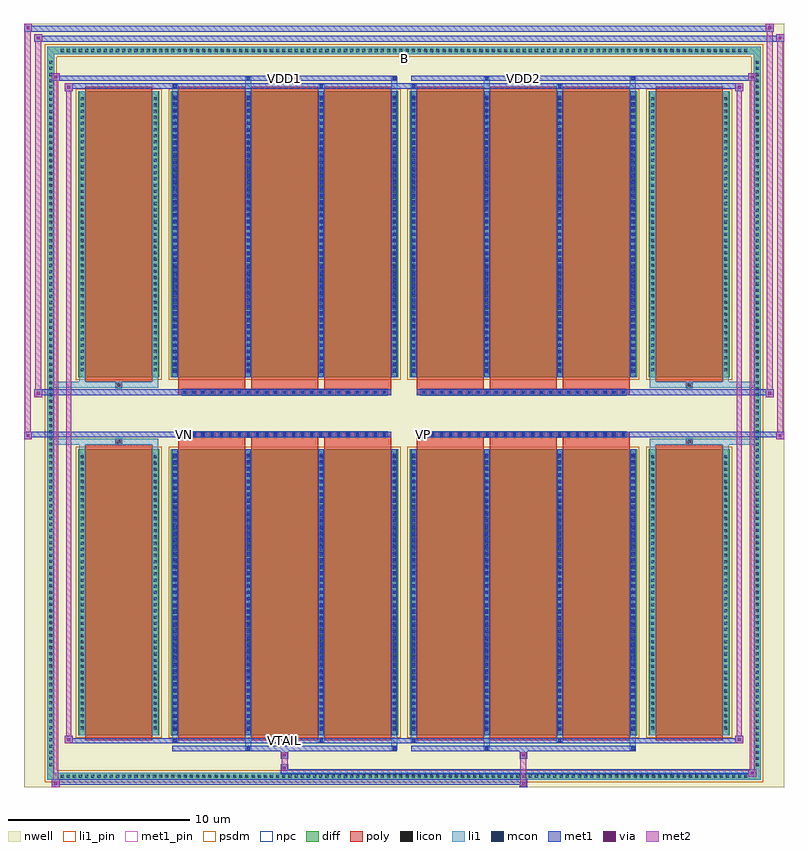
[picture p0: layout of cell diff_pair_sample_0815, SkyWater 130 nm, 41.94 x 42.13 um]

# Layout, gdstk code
import gdstk
lib = gdstk.Library(unit=1e-6, precision=5e-09)
def R(c, l, rs):  # rectangles x0, y0, x1, y1
    for r in rs: c.add(gdstk.rectangle(r[:2], r[2:], *l))
def A(c, l, x, y, w, h, nx, ny, dx, dy):  # array of equal rectangles
    R(c, l, [(x+i*dx, y+j*dy, x+i*dx+w, y+j*dy+h) for i in range(nx) for j in range(ny)])
def P(c, l, *ps):  # polygons
    for p in ps: c.add(gdstk.Polygon(p, *l))
nwell = (64, 20)
diff = (65, 20)
poly = (66, 20)
licon = (66, 44)
li1_pin = (67, 16)
li1 = (67, 20)
mcon = (67, 44)
met1_pin = (68, 16)
met1 = (68, 20)
via = (68, 44)
met2 = (69, 20)
psdm = (94, 20)
npc = (95, 20)

diff_pair_sample_0815 = lib.new_cell('diff_pair_sample_0815')
R(diff_pair_sample_0815, nwell, [(-20.97,-20.63,20.97,21.5), (-18.29,-18.82,-0.01,-0.8), (0.01,-18.82,18.29,-0.8), (-18.29,0.8,-0.01,18.82), (0.01,0.8,18.29,18.82)])
A(diff_pair_sample_0815, diff, -19.075, -20.23, 0.41, 0.41, 112, 2, 0.34, 40.05)
A(diff_pair_sample_0815, diff, -19.7, -19.585, 0.41, 0.41, 1, 115, 0, 0.34)
A(diff_pair_sample_0815, diff, 19.29, -19.585, 0.41, 0.41, 1, 115, 0, 0.34)
R(diff_pair_sample_0815, diff, [(-19.075,-20.23,19.075,-19.82), (-19.7,-19.585,-19.29,19.585), (19.29,-19.585,19.7,19.585), (-17.98,-17.775,-13.5,-1.985), (-12.86,-17.775,-0.32,-1.985), (0.32,-17.775,12.86,-1.985), (13.5,-17.775,17.98,-1.985), (-17.98,1.985,-13.5,17.775), (-12.86,1.985,-0.32,17.775), (0.32,1.985,12.86,17.775), (13.5,1.985,17.98,17.775), (-19.075,19.82,19.075,20.23)])
P(diff_pair_sample_0815, diff, [(19.7,20.23),(-19.7,20.23),(-19.7,-19.82),(-19.29,-19.82),(-19.29,19.82),(19.29,19.82),(19.29,-19.82),(-19.29,-19.82),(-19.7,-19.82),(-19.7,-20.23),(19.7,-20.23)])
A(diff_pair_sample_0815, poly, -12.47, -18.025, 3.7, 16.29, 3, 2, 4.03, 19.76)
A(diff_pair_sample_0815, poly, 0.71, -18.025, 3.7, 16.29, 3, 2, 4.03, 19.76)
A(diff_pair_sample_0815, poly, -12.47, -1.735, 3.7, 0.405, 3, 2, 4.03, 3.065)
A(diff_pair_sample_0815, poly, 0.71, -1.735, 3.7, 0.405, 3, 2, 4.03, 3.065)
A(diff_pair_sample_0815, poly, -12.255, -1.33, 0.33, 0.33, 23, 2, 0.5, 2.33)
A(diff_pair_sample_0815, poly, 0.925, -1.33, 0.33, 0.33, 23, 2, 0.5, 2.33)
R(diff_pair_sample_0815, poly, [(-17.59,-18.025,-13.89,-1.735), (13.89,-18.025,17.59,-1.735), (-15.905,-1.735,-15.575,-1.405), (-15.905,-1.735,-15.575,-1.405), (15.575,-1.735,15.905,-1.405), (15.575,-1.735,15.905,-1.405), (-12.47,-1.33,-0.71,-1), (0.71,-1.33,12.47,-1), (-12.47,1,-0.71,1.33), (0.71,1,12.47,1.33), (-15.905,1.405,-15.575,1.735), (-15.905,1.405,-15.575,1.735), (15.575,1.405,15.905,1.735), (15.575,1.405,15.905,1.735), (-17.59,1.735,-13.89,18.025), (13.89,1.735,17.59,18.025)])
A(diff_pair_sample_0815, licon, -18.955, -20.11, 0.17, 0.17, 112, 2, 0.34, 40.05)
A(diff_pair_sample_0815, licon, -19.58, -19.465, 0.17, 0.17, 1, 115, 0, 0.34)
A(diff_pair_sample_0815, licon, 19.41, -19.465, 0.17, 0.17, 1, 115, 0, 0.34)
A(diff_pair_sample_0815, licon, -17.84, -17.445, 0.17, 0.17, 1, 45, 0, 0.34)
A(diff_pair_sample_0815, licon, -13.81, -17.445, 0.17, 0.17, 1, 45, 0, 0.34)
A(diff_pair_sample_0815, licon, -12.72, -17.445, 0.17, 0.17, 4, 45, 4.03, 0.34)
A(diff_pair_sample_0815, licon, 0.46, -17.445, 0.17, 0.17, 4, 45, 4.03, 0.34)
A(diff_pair_sample_0815, licon, 13.64, -17.445, 0.17, 0.17, 1, 45, 0, 0.34)
A(diff_pair_sample_0815, licon, 17.67, -17.445, 0.17, 0.17, 1, 45, 0, 0.34)
A(diff_pair_sample_0815, licon, -12.175, -1.25, 0.17, 0.17, 23, 2, 0.5, 2.33)
A(diff_pair_sample_0815, licon, 1.005, -1.25, 0.17, 0.17, 23, 2, 0.5, 2.33)
A(diff_pair_sample_0815, licon, -17.84, 2.315, 0.17, 0.17, 1, 45, 0, 0.34)
A(diff_pair_sample_0815, licon, -13.81, 2.315, 0.17, 0.17, 1, 45, 0, 0.34)
A(diff_pair_sample_0815, licon, -12.72, 2.315, 0.17, 0.17, 4, 45, 4.03, 0.34)
A(diff_pair_sample_0815, licon, 0.46, 2.315, 0.17, 0.17, 4, 45, 4.03, 0.34)
A(diff_pair_sample_0815, licon, 13.64, 2.315, 0.17, 0.17, 1, 45, 0, 0.34)
A(diff_pair_sample_0815, licon, 17.67, 2.315, 0.17, 0.17, 1, 45, 0, 0.34)
R(diff_pair_sample_0815, licon, [(-15.825,-1.655,-15.655,-1.485), (15.655,-1.655,15.825,-1.485), (-15.825,1.485,-15.655,1.655), (15.655,1.485,15.825,1.655)])
R(diff_pair_sample_0815, li1_pin, [(-0.25,19.32,0.25,19.82)])
A(diff_pair_sample_0815, li1, -19.035, -20.19, 0.33, 0.33, 112, 2, 0.34, 40.05)
A(diff_pair_sample_0815, li1, -19.66, -19.545, 0.33, 0.33, 1, 115, 0, 0.34)
A(diff_pair_sample_0815, li1, 19.33, -19.545, 0.33, 0.33, 1, 115, 0, 0.34)
A(diff_pair_sample_0815, li1, -12.8, -17.775, 0.33, 15.79, 4, 2, 4.03, 19.76)
A(diff_pair_sample_0815, li1, 0.38, -17.775, 0.33, 15.79, 4, 2, 4.03, 19.76)
A(diff_pair_sample_0815, li1, -17.92, -17.525, 0.33, 0.33, 1, 45, 0, 0.34)
A(diff_pair_sample_0815, li1, -13.89, -17.525, 0.33, 0.33, 1, 45, 0, 0.34)
A(diff_pair_sample_0815, li1, -12.8, -17.525, 0.33, 0.33, 4, 45, 4.03, 0.34)
A(diff_pair_sample_0815, li1, -12.72, -17.525, 0.17, 0.17, 4, 43, 4.03, 0.36)
A(diff_pair_sample_0815, li1, -12.72, -17.525, 0.17, 15.29, 4, 2, 4.03, 19.76)
A(diff_pair_sample_0815, li1, 0.38, -17.525, 0.33, 0.33, 4, 45, 4.03, 0.34)
A(diff_pair_sample_0815, li1, 0.46, -17.525, 0.17, 0.17, 4, 43, 4.03, 0.36)
A(diff_pair_sample_0815, li1, 0.46, -17.525, 0.17, 15.29, 4, 2, 4.03, 19.76)
A(diff_pair_sample_0815, li1, 13.56, -17.525, 0.33, 0.33, 1, 45, 0, 0.34)
A(diff_pair_sample_0815, li1, 17.59, -17.525, 0.33, 0.33, 1, 45, 0, 0.34)
A(diff_pair_sample_0815, li1, -12.255, -1.33, 0.33, 0.33, 23, 2, 0.5, 2.33)
A(diff_pair_sample_0815, li1, 0.925, -1.33, 0.33, 0.33, 23, 2, 0.5, 2.33)
A(diff_pair_sample_0815, li1, -17.92, 2.235, 0.33, 0.33, 1, 45, 0, 0.34)
A(diff_pair_sample_0815, li1, -13.89, 2.235, 0.33, 0.33, 1, 45, 0, 0.34)
A(diff_pair_sample_0815, li1, -12.8, 2.235, 0.33, 0.33, 4, 45, 4.03, 0.34)
A(diff_pair_sample_0815, li1, -12.72, 2.235, 0.17, 0.17, 4, 43, 4.03, 0.36)
A(diff_pair_sample_0815, li1, 0.38, 2.235, 0.33, 0.33, 4, 45, 4.03, 0.34)
A(diff_pair_sample_0815, li1, 0.46, 2.235, 0.17, 0.17, 4, 43, 4.03, 0.36)
A(diff_pair_sample_0815, li1, 13.56, 2.235, 0.33, 0.33, 1, 45, 0, 0.34)
A(diff_pair_sample_0815, li1, 17.59, 2.235, 0.33, 0.33, 1, 45, 0, 0.34)
R(diff_pair_sample_0815, li1, [(-19.7,-20.23,-19.29,-19.82), (-19.7,-20.23,-19.29,-19.82), (-19.29,-20.23,19.29,-19.82), (19.29,-20.23,19.7,-19.82), (19.29,-20.23,19.7,-19.82), (-19.7,-19.82,-19.29,19.82), (19.29,-19.82,19.7,19.82), (-8.77,-18.58,-8.44,-17.775), (-8.69,-18.58,-8.52,-18.41), (-0.71,-18.58,-0.38,-17.775), (-0.63,-18.58,-0.46,-18.41), (4.41,-18.58,4.74,-17.775), (4.49,-18.58,4.66,-18.41), (12.47,-18.58,12.8,-17.775), (12.55,-18.58,12.72,-18.41), (-12.8,-18.15,-12.47,-17.775), (-12.72,-18.15,-12.55,-17.98), (-4.74,-18.15,-4.41,-17.775), (-4.66,-18.15,-4.49,-17.98), (0.38,-18.15,0.71,-17.775), (0.46,-18.15,0.63,-17.98), (8.44,-18.15,8.77,-17.775), (8.52,-18.15,8.69,-17.98), (-17.92,-17.775,-17.59,-1.985), (-13.89,-17.775,-13.56,-1.985), (13.56,-17.775,13.89,-1.985), (17.59,-17.775,17.92,-1.985), (-17.92,-1.985,-17.59,-1.405), (-13.89,-1.985,-13.56,-1.405), (13.56,-1.985,13.89,-1.405), (17.59,-1.985,17.92,-1.405), (-19.7,-1.735,-15.905,-1.405), (-17.92,-1.735,-15.905,-1.405), (-15.905,-1.735,-15.575,-1.405), (-15.575,-1.735,-13.56,-1.405), (13.56,-1.735,15.575,-1.405), (15.575,-1.735,15.905,-1.405), (15.575,-1.735,19.7,-1.405), (15.905,-1.735,17.92,-1.405), (-19.7,1.405,-15.905,1.735), (-17.92,1.405,-15.905,1.735), (-17.92,1.405,-17.59,1.985), (-15.905,1.405,-15.575,1.735), (-15.575,1.405,-13.56,1.735), (-13.89,1.405,-13.56,1.985), (13.56,1.405,15.575,1.735), (13.56,1.405,13.89,1.985), (15.575,1.405,15.905,1.735), (15.575,1.405,19.7,1.735), (15.905,1.405,17.92,1.735), (17.59,1.405,17.92,1.985), (-17.92,1.985,-17.59,17.775), (-13.89,1.985,-13.56,17.775), (13.56,1.985,13.89,17.775), (17.59,1.985,17.92,17.775), (-12.8,17.775,-12.47,18.15), (-8.77,17.775,-8.44,18.58), (-4.74,17.775,-4.41,18.15), (-0.71,17.775,-0.38,18.58), (0.38,17.775,0.71,18.15), (4.41,17.775,4.74,18.58), (8.44,17.775,8.77,18.15), (12.47,17.775,12.8,18.58), (-12.72,17.98,-12.55,18.15), (-4.66,17.98,-4.49,18.15), (0.46,17.98,0.63,18.15), (8.52,17.98,8.69,18.15), (-8.69,18.41,-8.52,18.58), (-0.63,18.41,-0.46,18.58), (4.49,18.41,4.66,18.58), (12.55,18.41,12.72,18.58), (-19.7,19.82,-19.29,20.23), (-19.7,19.82,-19.29,20.23), (-19.29,19.82,19.29,20.23), (19.29,19.82,19.7,20.23), (19.29,19.82,19.7,20.23)])
A(diff_pair_sample_0815, mcon, -12.72, -17.525, 0.17, 0.17, 4, 43, 4.03, 0.36)
A(diff_pair_sample_0815, mcon, 0.46, -17.525, 0.17, 0.17, 4, 43, 4.03, 0.36)
A(diff_pair_sample_0815, mcon, -12.175, -1.25, 0.17, 0.17, 23, 2, 0.5, 2.33)
A(diff_pair_sample_0815, mcon, 1.005, -1.25, 0.17, 0.17, 23, 2, 0.5, 2.33)
A(diff_pair_sample_0815, mcon, -12.72, 2.235, 0.17, 0.17, 4, 43, 4.03, 0.36)
A(diff_pair_sample_0815, mcon, 0.46, 2.235, 0.17, 0.17, 4, 43, 4.03, 0.36)
R(diff_pair_sample_0815, mcon, [(-8.69,-18.58,-8.52,-18.41), (-0.63,-18.58,-0.46,-18.41), (4.49,-18.58,4.66,-18.41), (12.55,-18.58,12.72,-18.41), (-12.72,-18.15,-12.55,-17.98), (-4.66,-18.15,-4.49,-17.98), (0.46,-18.15,0.63,-17.98), (8.52,-18.15,8.69,-17.98), (-12.72,17.98,-12.55,18.15), (-4.66,17.98,-4.49,18.15), (0.46,17.98,0.63,18.15), (8.52,17.98,8.69,18.15), (-8.69,18.41,-8.52,18.58), (-0.63,18.41,-0.46,18.58), (4.49,18.41,4.66,18.58), (12.55,18.41,12.72,18.58)])
R(diff_pair_sample_0815, met1_pin, [(-6.725,-18.19,-6.455,-17.92), (-12.225,-1.29,-11.955,-1.02), (0.955,-1.29,1.225,-1.02), (-6.725,18.37,-6.455,18.64), (6.455,18.37,6.725,18.64)])
A(diff_pair_sample_0815, met1, -12.78, -17.775, 0.29, 15.79, 4, 2, 4.03, 19.76)
A(diff_pair_sample_0815, met1, 0.4, -17.775, 0.29, 15.79, 4, 2, 4.03, 19.76)
A(diff_pair_sample_0815, met1, -12.78, -17.585, 0.29, 0.29, 4, 43, 4.03, 0.36)
A(diff_pair_sample_0815, met1, 0.4, -17.585, 0.29, 0.29, 4, 43, 4.03, 0.36)
A(diff_pair_sample_0815, met1, -12.235, -1.31, 0.29, 0.29, 23, 2, 0.5, 2.33)
A(diff_pair_sample_0815, met1, 0.945, -1.31, 0.29, 0.29, 23, 2, 0.5, 2.33)
A(diff_pair_sample_0815, met1, -12.78, 2.175, 0.29, 0.29, 4, 43, 4.03, 0.36)
A(diff_pair_sample_0815, met1, 0.4, 2.175, 0.29, 0.29, 4, 43, 4.03, 0.36)
R(diff_pair_sample_0815, met1, [(-19.43,-20.63,-19,-20.2), (6.375,-20.63,6.805,-20.2), (-19.43,-20.49,6.805,-20.2), (19,-20.06,19.43,-19.63), (-6.805,-19.92,19.43,-19.63), (-6.805,-19.78,-6.375,-19.35), (-6.805,-19.07,-6.375,-18.64), (6.375,-19.07,6.805,-18.64), (-12.78,-18.64,-0.4,-18.35), (-8.75,-18.64,-8.46,-18.35), (-0.69,-18.64,-0.4,-18.35), (0.4,-18.64,12.78,-18.35), (4.43,-18.64,4.72,-18.35), (12.49,-18.64,12.78,-18.35), (-18.72,-18.21,-18.29,-17.78), (-18.72,-18.21,-12.78,-17.92), (-12.78,-18.21,-12.49,-17.92), (-12.78,-18.21,-0.4,-17.92), (-4.72,-18.21,-4.43,-17.92), (-0.4,-18.21,0.4,-17.92), (0.4,-18.21,0.69,-17.92), (0.4,-18.21,12.78,-17.92), (8.46,-18.21,8.75,-17.92), (12.78,-18.21,18.72,-17.92), (18.29,-18.21,18.72,-17.78), (-20.97,-1.43,-20.54,-1), (20.54,-1.43,20.97,-1), (-20.97,-1.33,-0.71,-1), (-12.47,-1.33,-0.71,-1), (0.71,-1.33,12.47,-1), (0.71,-1.33,20.97,-1), (-20.4,0.9,-19.97,1.33), (19.97,0.9,20.4,1.33), (-20.4,1,-12.47,1.33), (-12.47,1,-0.71,1.33), (0.71,1,12.47,1.33), (12.47,1,20.4,1.33), (-18.72,17.78,-18.29,18.21), (18.29,17.78,18.72,18.21), (-18.72,17.92,-12.78,18.21), (-12.78,17.92,-12.49,18.21), (-12.78,17.92,-0.4,18.21), (-4.72,17.92,-4.43,18.21), (-0.4,17.92,0.4,18.21), (0.4,17.92,0.69,18.21), (0.4,17.92,12.78,18.21), (8.46,17.92,8.75,18.21), (12.78,17.92,18.72,18.21), (-19.43,18.35,-19,18.78), (-19.43,18.35,-12.78,18.64), (-12.78,18.35,-0.4,18.64), (-8.75,18.35,-8.46,18.64), (-0.69,18.35,-0.4,18.64), (0.4,18.35,12.78,18.64), (4.43,18.35,4.72,18.64), (12.49,18.35,12.78,18.64), (12.78,18.35,19.43,18.64), (19,18.35,19.43,18.78), (-20.4,20.5,-19.97,20.93), (-20.4,20.5,-18.29,20.83), (-18.29,20.5,18.29,20.83), (18.29,20.5,20.97,20.83), (20.54,20.5,20.97,20.93), (-20.97,21.07,-20.54,21.5), (-20.97,21.07,-18.29,21.4), (-18.29,21.07,18.29,21.4), (18.29,21.07,20.4,21.4), (19.97,21.07,20.4,21.5)])
R(diff_pair_sample_0815, via, [(-19.29,-20.49,-19.14,-20.34), (6.515,-20.49,6.665,-20.34), (19.14,-19.92,19.29,-19.77), (-6.665,-19.64,-6.515,-19.49), (-6.665,-18.93,-6.515,-18.78), (6.515,-18.93,6.665,-18.78), (-18.58,-18.07,-18.43,-17.92), (18.43,-18.07,18.58,-17.92), (-20.83,-1.29,-20.68,-1.14), (20.68,-1.29,20.83,-1.14), (-20.26,1.04,-20.11,1.19), (20.11,1.04,20.26,1.19), (-18.58,17.92,-18.43,18.07), (18.43,17.92,18.58,18.07), (-19.29,18.49,-19.14,18.64), (19.14,18.49,19.29,18.64), (-20.26,20.64,-20.11,20.79), (20.68,20.64,20.83,20.79), (-20.83,21.21,-20.68,21.36), (20.11,21.21,20.26,21.36)])
R(diff_pair_sample_0815, met2, [(-19.43,-20.63,-19,-20.2), (-19.36,-20.63,-19.07,18.78), (-19.07,-20.63,-19,-20.2), (-19.38,-20.58,-19.05,-20.25), (6.425,-20.58,6.755,-20.25), (6.425,-20.25,6.755,-19.02), (19,-20.06,19.43,-19.63), (19.07,-20.06,19.36,18.78), (19.36,-20.06,19.43,-19.63), (19.05,-20.01,19.38,-19.68), (-6.755,-19.73,-6.425,-19.4), (-6.755,-19.4,-6.425,-19.02), (-6.755,-19.02,-6.425,-18.69), (6.425,-19.02,6.755,-18.69), (-18.72,-18.21,-18.29,-17.78), (-18.65,-18.21,-18.36,18.21), (-18.36,-18.21,-18.29,-17.78), (18.29,-18.21,18.72,-17.78), (18.36,-18.21,18.65,18.21), (18.65,-18.21,18.72,-17.78), (-18.67,-18.16,-18.34,-17.83), (18.34,-18.16,18.67,-17.83), (-20.97,-1.43,-20.54,-1), (-20.92,-1.43,-20.59,21.5), (-20.59,-1.43,-20.54,-1), (20.54,-1.43,20.97,-1), (20.59,-1.43,20.92,20.93), (20.92,-1.43,20.97,-1), (-20.92,-1.38,-20.59,-1.05), (20.59,-1.38,20.92,-1.05), (-20.4,0.9,-19.97,1.33), (-20.35,0.9,-20.02,20.93), (-20.02,0.9,-19.97,1.33), (19.97,0.9,20.4,1.33), (20.02,0.9,20.35,21.5), (20.35,0.9,20.4,1.33), (-20.35,0.95,-20.02,1.28), (20.02,0.95,20.35,1.28), (-18.72,17.78,-18.29,18.21), (-18.36,17.78,-18.29,18.21), (18.29,17.78,18.72,18.21), (18.65,17.78,18.72,18.21), (-18.67,17.83,-18.34,18.16), (18.34,17.83,18.67,18.16), (-19.43,18.35,-19,18.78), (-19.07,18.35,-19,18.78), (19,18.35,19.43,18.78), (19.36,18.35,19.43,18.78), (-19.38,18.4,-19.05,18.73), (19.05,18.4,19.38,18.73), (-20.4,20.5,-19.97,20.93), (-20.02,20.5,-19.97,20.93), (20.54,20.5,20.97,20.93), (20.92,20.5,20.97,20.93), (-20.35,20.55,-20.02,20.88), (20.59,20.55,20.92,20.88), (-20.97,21.07,-20.54,21.5), (-20.59,21.07,-20.54,21.5), (19.97,21.07,20.4,21.5), (20.35,21.07,20.4,21.5), (-20.92,21.12,-20.59,21.45), (20.02,21.12,20.35,21.45)])
R(diff_pair_sample_0815, psdm, [(-18.11,-17.905,-13.37,-1.855), (-12.99,-17.905,-0.19,-1.855), (0.19,-17.905,12.99,-1.855), (13.37,-17.905,18.11,-1.855), (-18.11,1.855,-13.37,17.905), (-12.99,1.855,-0.19,17.905), (0.19,1.855,12.99,17.905), (13.37,1.855,18.11,17.905)])
P(diff_pair_sample_0815, psdm, [(19.83,20.36),(-19.83,20.36),(-19.83,-19.69),(-19.16,-19.69),(-19.16,19.69),(19.16,19.69),(19.16,-19.69),(-19.16,-19.69),(-19.83,-19.69),(-19.83,-20.36),(19.83,-20.36)])
A(diff_pair_sample_0815, npc, -12.275, -1.35, 0.37, 0.37, 23, 2, 0.5, 2.33)
A(diff_pair_sample_0815, npc, 0.905, -1.35, 0.37, 0.37, 23, 2, 0.5, 2.33)
R(diff_pair_sample_0815, npc, [(-15.925,-1.755,-15.555,-1.385), (15.555,-1.755,15.925,-1.385), (-12.275,-1.35,-11.405,-0.98), (-12.275,-1.35,-11.405,-0.98), (-11.775,-1.35,-10.905,-0.98), (-11.775,-1.35,-10.905,-0.98), (-11.275,-1.35,-10.405,-0.98), (-11.275,-1.35,-10.405,-0.98), (-10.775,-1.35,-9.905,-0.98), (-10.775,-1.35,-9.905,-0.98), (-10.275,-1.35,-9.405,-0.98), (-10.275,-1.35,-9.405,-0.98), (-9.775,-1.35,-8.905,-0.98), (-9.775,-1.35,-8.905,-0.98), (-9.275,-1.35,-8.405,-0.98), (-9.275,-1.35,-8.405,-0.98), (-8.775,-1.35,-7.905,-0.98), (-8.775,-1.35,-7.905,-0.98), (-8.275,-1.35,-7.405,-0.98), (-8.275,-1.35,-7.405,-0.98), (-7.775,-1.35,-6.905,-0.98), (-7.775,-1.35,-6.905,-0.98), (-7.275,-1.35,-6.405,-0.98), (-7.275,-1.35,-6.405,-0.98), (-6.775,-1.35,-5.905,-0.98), (-6.775,-1.35,-5.905,-0.98), (-6.275,-1.35,-5.405,-0.98), (-6.275,-1.35,-5.405,-0.98), (-5.775,-1.35,-4.905,-0.98), (-5.775,-1.35,-4.905,-0.98), (-5.275,-1.35,-4.405,-0.98), (-5.275,-1.35,-4.405,-0.98), (-4.775,-1.35,-3.905,-0.98), (-4.775,-1.35,-3.905,-0.98), (-4.275,-1.35,-3.405,-0.98), (-4.275,-1.35,-3.405,-0.98), (-3.775,-1.35,-2.905,-0.98), (-3.775,-1.35,-2.905,-0.98), (-3.275,-1.35,-2.405,-0.98), (-3.275,-1.35,-2.405,-0.98), (-2.775,-1.35,-1.905,-0.98), (-2.775,-1.35,-1.905,-0.98), (-2.275,-1.35,-1.405,-0.98), (-2.275,-1.35,-1.405,-0.98), (-1.775,-1.35,-0.905,-0.98), (-1.775,-1.35,-0.905,-0.98), (0.905,-1.35,1.775,-0.98), (0.905,-1.35,1.775,-0.98), (1.405,-1.35,2.275,-0.98), (1.405,-1.35,2.275,-0.98), (1.905,-1.35,2.775,-0.98), (1.905,-1.35,2.775,-0.98), (2.405,-1.35,3.275,-0.98), (2.405,-1.35,3.275,-0.98), (2.905,-1.35,3.775,-0.98), (2.905,-1.35,3.775,-0.98), (3.405,-1.35,4.275,-0.98), (3.405,-1.35,4.275,-0.98), (3.905,-1.35,4.775,-0.98), (3.905,-1.35,4.775,-0.98), (4.405,-1.35,5.275,-0.98), (4.405,-1.35,5.275,-0.98), (4.905,-1.35,5.775,-0.98), (4.905,-1.35,5.775,-0.98), (5.405,-1.35,6.275,-0.98), (5.405,-1.35,6.275,-0.98), (5.905,-1.35,6.775,-0.98), (5.905,-1.35,6.775,-0.98), (6.405,-1.35,7.275,-0.98), (6.405,-1.35,7.275,-0.98), (6.905,-1.35,7.775,-0.98), (6.905,-1.35,7.775,-0.98), (7.405,-1.35,8.275,-0.98), (7.405,-1.35,8.275,-0.98), (7.905,-1.35,8.775,-0.98), (7.905,-1.35,8.775,-0.98), (8.405,-1.35,9.275,-0.98), (8.405,-1.35,9.275,-0.98), (8.905,-1.35,9.775,-0.98), (8.905,-1.35,9.775,-0.98), (9.405,-1.35,10.275,-0.98), (9.405,-1.35,10.275,-0.98), (9.905,-1.35,10.775,-0.98), (9.905,-1.35,10.775,-0.98), (10.405,-1.35,11.275,-0.98), (10.405,-1.35,11.275,-0.98), (10.905,-1.35,11.775,-0.98), (10.905,-1.35,11.775,-0.98), (11.405,-1.35,12.275,-0.98), (11.405,-1.35,12.275,-0.98), (-12.275,0.98,-11.405,1.35), (-12.275,0.98,-11.405,1.35), (-11.775,0.98,-10.905,1.35), (-11.775,0.98,-10.905,1.35), (-11.275,0.98,-10.405,1.35), (-11.275,0.98,-10.405,1.35), (-10.775,0.98,-9.905,1.35), (-10.775,0.98,-9.905,1.35), (-10.275,0.98,-9.405,1.35), (-10.275,0.98,-9.405,1.35), (-9.775,0.98,-8.905,1.35), (-9.775,0.98,-8.905,1.35), (-9.275,0.98,-8.405,1.35), (-9.275,0.98,-8.405,1.35), (-8.775,0.98,-7.905,1.35), (-8.775,0.98,-7.905,1.35), (-8.275,0.98,-7.405,1.35), (-8.275,0.98,-7.405,1.35), (-7.775,0.98,-6.905,1.35), (-7.775,0.98,-6.905,1.35), (-7.275,0.98,-6.405,1.35), (-7.275,0.98,-6.405,1.35), (-6.775,0.98,-5.905,1.35), (-6.775,0.98,-5.905,1.35), (-6.275,0.98,-5.405,1.35), (-6.275,0.98,-5.405,1.35), (-5.775,0.98,-4.905,1.35), (-5.775,0.98,-4.905,1.35), (-5.275,0.98,-4.405,1.35), (-5.275,0.98,-4.405,1.35), (-4.775,0.98,-3.905,1.35), (-4.775,0.98,-3.905,1.35), (-4.275,0.98,-3.405,1.35), (-4.275,0.98,-3.405,1.35), (-3.775,0.98,-2.905,1.35), (-3.775,0.98,-2.905,1.35), (-3.275,0.98,-2.405,1.35), (-3.275,0.98,-2.405,1.35), (-2.775,0.98,-1.905,1.35), (-2.775,0.98,-1.905,1.35), (-2.275,0.98,-1.405,1.35), (-2.275,0.98,-1.405,1.35), (-1.775,0.98,-0.905,1.35), (-1.775,0.98,-0.905,1.35), (0.905,0.98,1.775,1.35), (0.905,0.98,1.775,1.35), (1.405,0.98,2.275,1.35), (1.405,0.98,2.275,1.35), (1.905,0.98,2.775,1.35), (1.905,0.98,2.775,1.35), (2.405,0.98,3.275,1.35), (2.405,0.98,3.275,1.35), (2.905,0.98,3.775,1.35), (2.905,0.98,3.775,1.35), (3.405,0.98,4.275,1.35), (3.405,0.98,4.275,1.35), (3.905,0.98,4.775,1.35), (3.905,0.98,4.775,1.35), (4.405,0.98,5.275,1.35), (4.405,0.98,5.275,1.35), (4.905,0.98,5.775,1.35), (4.905,0.98,5.775,1.35), (5.405,0.98,6.275,1.35), (5.405,0.98,6.275,1.35), (5.905,0.98,6.775,1.35), (5.905,0.98,6.775,1.35), (6.405,0.98,7.275,1.35), (6.405,0.98,7.275,1.35), (6.905,0.98,7.775,1.35), (6.905,0.98,7.775,1.35), (7.405,0.98,8.275,1.35), (7.405,0.98,8.275,1.35), (7.905,0.98,8.775,1.35), (7.905,0.98,8.775,1.35), (8.405,0.98,9.275,1.35), (8.405,0.98,9.275,1.35), (8.905,0.98,9.775,1.35), (8.905,0.98,9.775,1.35), (9.405,0.98,10.275,1.35), (9.405,0.98,10.275,1.35), (9.905,0.98,10.775,1.35), (9.905,0.98,10.775,1.35), (10.405,0.98,11.275,1.35), (10.405,0.98,11.275,1.35), (10.905,0.98,11.775,1.35), (10.905,0.98,11.775,1.35), (11.405,0.98,12.275,1.35), (11.405,0.98,12.275,1.35), (-15.925,1.385,-15.555,1.755), (15.555,1.385,15.925,1.755)])
diff_pair_sample_0815.add(gdstk.Label('VTAIL', (-6.59,-18.055), layer=68, texttype=5))
diff_pair_sample_0815.add(gdstk.Label('VN', (-12.09,-1.155), layer=68, texttype=5))
diff_pair_sample_0815.add(gdstk.Label('VP', (1.09,-1.155), layer=68, texttype=5))
diff_pair_sample_0815.add(gdstk.Label('B', (0,19.57), layer=67, texttype=5))
diff_pair_sample_0815.add(gdstk.Label('VDD2', (6.59,18.505), layer=68, texttype=5))
diff_pair_sample_0815.add(gdstk.Label('VDD1', (-6.59,18.505), layer=68, texttype=5))

lib.write_gds('diff_pair_sample_0815.gds')
